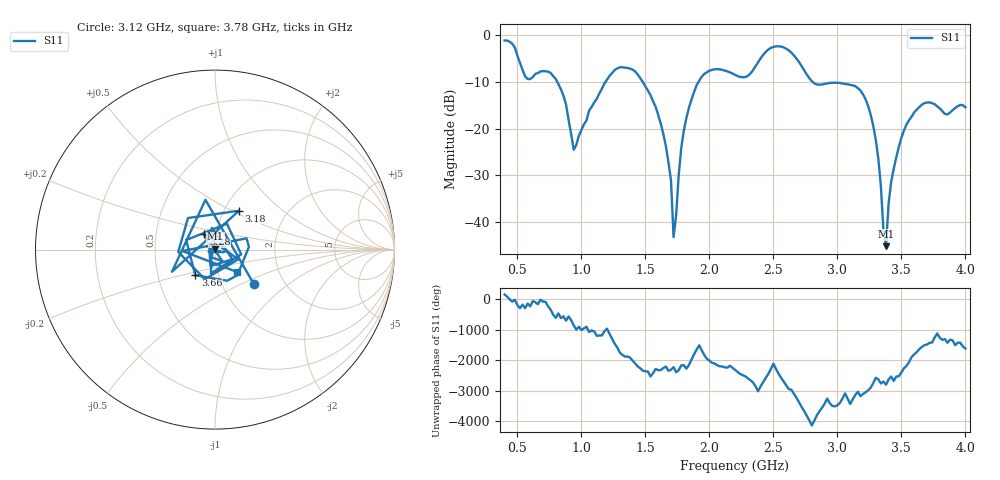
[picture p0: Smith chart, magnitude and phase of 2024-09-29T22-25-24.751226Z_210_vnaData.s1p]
!Created with skrf (http://scikit-rf.org).
# Hz S RI R 50.0
!freq ReS11 ImS11
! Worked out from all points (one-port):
!   181 points, 400 MHz to 4 GHz, reference 50 ohm
!   lowest |S11| = -45.1 dB at 3.38 GHz (marker M1), VSWR 1.01, Z = 50.1 + j0.543 ohm
!   |S11| at or under -10 dB: 810.3 MHz to 1.19 GHz (379.6 MHz wide, 38 % of centre); 1.478 GHz to 1.916 GHz (438 MHz wide, 25.8 % of centre); 2.804 GHz to end of sweep
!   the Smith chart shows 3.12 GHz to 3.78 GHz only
!   S11 on the Smith chart (normalised r, x): 3.12 GHz: 1.41, -0.59; 3.18 GHz: 1.17, +0.54; 3.28 GHz: 0.87, +0.15; 3.66 GHz: 0.77, -0.23; 3.78 GHz: 1.23, -0.31
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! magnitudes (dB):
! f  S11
! 400 MHz  -1.2
! 580 MHz  -9.4
! 740 MHz  -7.9
! 860 MHz  -13.0
! 940 MHz  -24.5
! 1.3 GHz  -6.9
! 1.58 GHz  -15.4
! 1.7 GHz  -31.1
! 1.72 GHz  -43.2
! 1.76 GHz  -30.0
! 1.8 GHz  -20.5
! 1.9 GHz  -10.8
! 2.2 GHz  -8.5
! 2.5 GHz  -2.6
! 2.66 GHz  -4.4
! 2.82 GHz  -10.4
! 3.1 GHz  -10.7
! 3.12 GHz  -10.8
! 3.18 GHz  -11.9
! 3.28 GHz  -19.4
! 3.32 GHz  -26.4
! 3.36 GHz  -42.0
! 3.38 GHz  -45.1
! 3.42 GHz  -31.4
! 3.56 GHz  -18.2
! 3.66 GHz  -14.9
! 3.78 GHz  -15.3
! 4 GHz  -15.5
